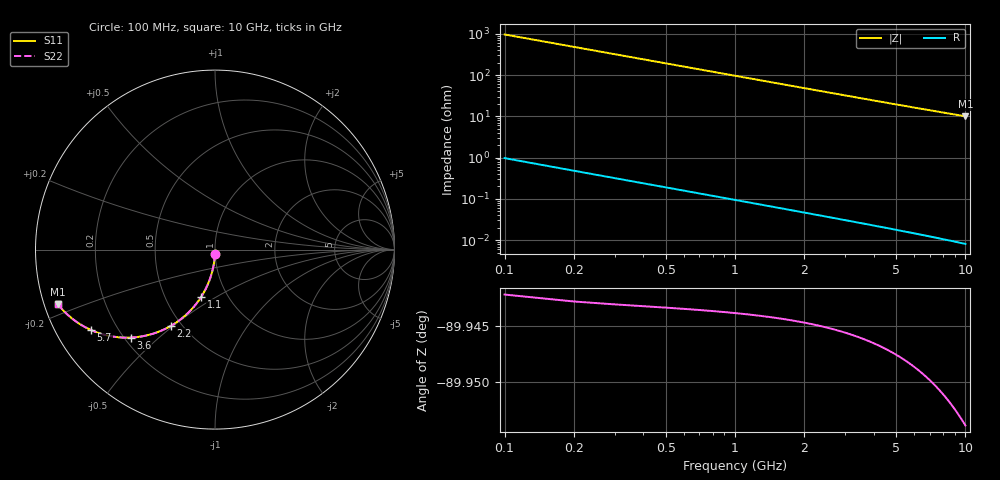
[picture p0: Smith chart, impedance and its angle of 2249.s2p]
# Hz S RI R 50.00
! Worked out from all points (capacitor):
!   100 points, 100 MHz to 10 GHz, reference 50 ohm
!   read as one part in shunt: C = 1.66 pF near 100 MHz
!   lowest |Z| = 10 ohm at 10 GHz (marker M1)
!   S11 on the Smith chart (normalised r, x): 100 MHz: 1.00, -0.05; 1.1 GHz: 0.75, -0.43; 2.2 GHz: 0.44, -0.49; 3.6 GHz: 0.23, -0.41; 5.7 GHz: 0.11, -0.29; 10 GHz: 0.04, -0.17
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1e8  -0.000634 -0.0258  0.9992 -0.0262  0.9992 -0.0262  -0.000634 -0.0258
2e8  -0.00268 -0.0514  0.9972 -0.0524  0.9972 -0.0524  -0.00268 -0.0514
3e8  -0.00606 -0.0769  0.9938 -0.0783  0.9938 -0.0783  -0.00606 -0.0769
4e8  -0.0107 -0.102  0.9891 -0.1039  0.9891 -0.1039  -0.0107 -0.102
5e8  -0.0167 -0.1268  0.9832 -0.1291  0.9832 -0.1291  -0.0167 -0.1268
6e8  -0.0239 -0.151  0.976 -0.1538  0.976 -0.1538  -0.0239 -0.151
7e8  -0.0322 -0.1746  0.9676 -0.1779  0.9676 -0.1779  -0.0322 -0.1746
9e8  -0.0521 -0.2199  0.9477 -0.224  0.9477 -0.224  -0.0521 -0.2199
1.1e9  -0.0759 -0.2619  0.9239 -0.267  0.9239 -0.267  -0.0759 -0.2619
1.4e9  -0.1174 -0.3182  0.8824 -0.3248  0.8824 -0.3248  -0.1174 -0.3182
1.8e9  -0.1802 -0.3798  0.8196 -0.3882  0.8196 -0.3882  -0.1802 -0.3798
2.2e9  -0.2473 -0.4259  0.7525 -0.4361  0.7525 -0.4361  -0.2473 -0.4259
2.8e9  -0.3474 -0.4692  0.6523 -0.4822  0.6523 -0.4822  -0.3474 -0.4692
3.4e9  -0.44 -0.4879  0.5597 -0.5039  0.5597 -0.5039  -0.44 -0.4879
3.6e9  -0.4684 -0.4901  0.5313 -0.5069  0.5313 -0.5069  -0.4684 -0.4901
4.3e9  -0.5573 -0.4861  0.4423 -0.5063  0.4423 -0.5063  -0.5573 -0.4861
5.1e9  -0.6396 -0.4675  0.3599 -0.4916  0.3599 -0.4916  -0.6396 -0.4675
5.7e9  -0.6896 -0.4485  0.3099 -0.4755  0.3099 -0.4755  -0.6896 -0.4485
6.7e9  -0.7549 -0.4134  0.2444 -0.4454  0.2444 -0.4454  -0.7549 -0.4134
7.5e9  -0.7948 -0.3851  0.2044 -0.421  0.2044 -0.421  -0.7948 -0.3851
8.4e9  -0.8299 -0.3545  0.1691 -0.395  0.1691 -0.395  -0.8299 -0.3545
1e10  -0.8746 -0.3055  0.1241 -0.3543  0.1241 -0.3543  -0.8746 -0.3055
